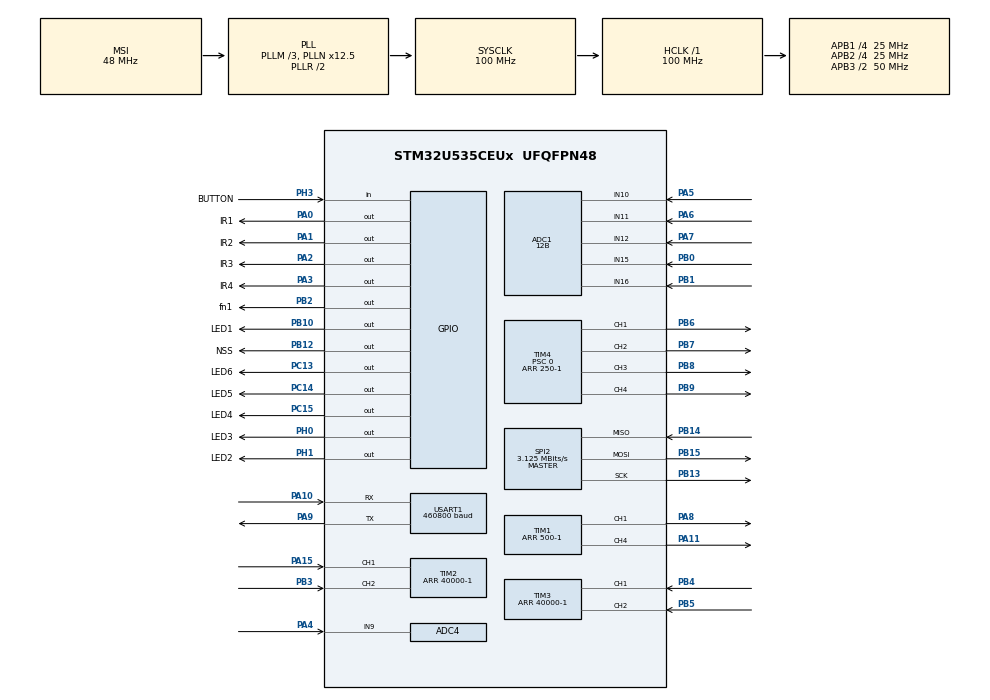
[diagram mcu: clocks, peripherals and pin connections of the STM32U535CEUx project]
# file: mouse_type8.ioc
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ADC1.Channel-0\#ChannelRegularConversion=ADC_CHANNEL_10
ADC1.Channel-10\#ChannelRegularConversion=ADC_CHANNEL_10
ADC1.Channel-11\#ChannelRegularConversion=ADC_CHANNEL_12
ADC1.Channel-12\#ChannelRegularConversion=ADC_CHANNEL_12
ADC1.Channel-13\#ChannelRegularConversion=ADC_CHANNEL_11
ADC1.Channel-14\#ChannelRegularConversion=ADC_CHANNEL_11
ADC1.Channel-15\#ChannelRegularConversion=ADC_CHANNEL_15
ADC1.Channel-16\#ChannelRegularConversion=ADC_CHANNEL_15
ADC1.Channel-17\#ChannelRegularConversion=ADC_CHANNEL_16
ADC1.Channel-18\#ChannelRegularConversion=ADC_CHANNEL_16
ADC1.ClockPrescaler=ADC_CLOCK_ASYNC_DIV4
ADC1.ConversionDataManagement=ADC_CONVERSIONDATA_DMA_CIRCULAR
ADC1.DMAContinuousRequests=ENABLE
ADC1.DiscontinuousConvMode=ENABLE
ADC1.ExternalTrigConv=ADC_EXTERNALTRIG_LPTIM1_CH1
ADC1.ExternalTrigConvEdge=ADC_EXTERNALTRIGCONVEDGE_FALLING
ADC1.MonitoredBy-10\#ChannelRegularConversion=__NULL
ADC1.MonitoredBy-11\#ChannelRegularConversion=__NULL
ADC1.MonitoredBy-12\#ChannelRegularConversion=__NULL
ADC1.MonitoredBy-13\#ChannelRegularConversion=__NULL
ADC1.MonitoredBy-14\#ChannelRegularConversion=__NULL
ADC1.MonitoredBy-15\#ChannelRegularConversion=__NULL
ADC1.MonitoredBy-16\#ChannelRegularConversion=__NULL
ADC1.MonitoredBy-17\#ChannelRegularConversion=__NULL
ADC1.MonitoredBy-18\#ChannelRegularConversion=__NULL
ADC1.NbrOfConversion=10
ADC1.NbrOfConversionFlag=1
ADC1.OffsetNumber-10\#ChannelRegularConversion=ADC_OFFSET_NONE
ADC1.OffsetNumber-11\#ChannelRegularConversion=ADC_OFFSET_NONE
ADC1.OffsetNumber-12\#ChannelRegularConversion=ADC_OFFSET_NONE
ADC1.OffsetNumber-13\#ChannelRegularConversion=ADC_OFFSET_NONE
ADC1.OffsetNumber-14\#ChannelRegularConversion=ADC_OFFSET_NONE
ADC1.OffsetNumber-15\#ChannelRegularConversion=ADC_OFFSET_NONE
ADC1.OffsetNumber-16\#ChannelRegularConversion=ADC_OFFSET_NONE
ADC1.OffsetNumber-17\#ChannelRegularConversion=ADC_OFFSET_NONE
ADC1.OffsetNumber-18\#ChannelRegularConversion=ADC_OFFSET_NONE
ADC1.Rank-10\#ChannelRegularConversion=2
ADC1.Rank-11\#ChannelRegularConversion=3
ADC1.Rank-12\#ChannelRegularConversion=4
ADC1.Rank-13\#ChannelRegularConversion=5
ADC1.Rank-14\#ChannelRegularConversion=6
ADC1.Rank-15\#ChannelRegularConversion=7
ADC1.Rank-16\#ChannelRegularConversion=8
ADC1.Rank-17\#ChannelRegularConversion=9
ADC1.Rank-18\#ChannelRegularConversion=10
ADC1.Resolution=ADC_RESOLUTION_12B
ADC1.SamplingTime-0\#ChannelRegularConversion=ADC_SAMPLETIME_20CYCLES
ADC1.SamplingTime-10\#ChannelRegularConversion=ADC_SAMPLETIME_20CYCLES
ADC1.SamplingTime-11\#ChannelRegularConversion=ADC_SAMPLETIME_20CYCLES
ADC1.SamplingTime-12\#ChannelRegularConversion=ADC_SAMPLETIME_20CYCLES
ADC1.SamplingTime-13\#ChannelRegularConversion=ADC_SAMPLETIME_20CYCLES
ADC1.SamplingTime-14\#ChannelRegularConversion=ADC_SAMPLETIME_20CYCLES
ADC1.SamplingTime-15\#ChannelRegularConversion=ADC_SAMPLETIME_20CYCLES
ADC1.SamplingTime-16\#ChannelRegularConversion=ADC_SAMPLETIME_20CYCLES
ADC1.SamplingTime-17\#ChannelRegularConversion=ADC_SAMPLETIME_20CYCLES
ADC1.SamplingTime-18\#ChannelRegularConversion=ADC_SAMPLETIME_20CYCLES
ADC1.master=1
ADC4.Channel-0\#ChannelRegularConversion=ADC_CHANNEL_9
ADC4.Channel-1\#ChannelRegularConversion=ADC_CHANNEL_9
ADC4.Channel-2\#ChannelRegularConversion=ADC_CHANNEL_9
ADC4.Channel-3\#ChannelRegularConversion=ADC_CHANNEL_9
ADC4.ClockPrescaler=ADC_CLOCK_ASYNC_DIV4
ADC4.DMAContinuousRequests=ENABLE
ADC4.DiscontinuousConvMode=ENABLE
ADC4.ExternalTrigConv=ADC4_EXTERNALTRIG_LPTIM3_CH2
ADC4.ExternalTrigConvEdge=ADC_EXTERNALTRIGCONVEDGE_RISING
ADC4.NbrOfConversion=4
ADC4.NbrOfConversionFlag=1
ADC4.OffsetNumber-0\#ChannelRegularConversion=ADC_OFFSET_NONE
ADC4.OffsetNumber-1\#ChannelRegularConversion=ADC_OFFSET_NONE
ADC4.OffsetNumber-2\#ChannelRegularConversion=ADC_OFFSET_NONE
ADC4.OffsetNumber-3\#ChannelRegularConversion=ADC_OFFSET_NONE
ADC4.Rank-0\#ChannelRegularConversion=1
ADC4.Rank-1\#ChannelRegularConversion=2
ADC4.Rank-2\#ChannelRegularConversion=3
ADC4.Rank-3\#ChannelRegularConversion=4
ADC4.RankArg-0\#ChannelRegularConversion=ADC4_REGULAR_RANK_1
ADC4.RankArg-1\#ChannelRegularConversion=ADC4_REGULAR_RANK_2
ADC4.RankArg-2\#ChannelRegularConversion=ADC4_REGULAR_RANK_3
ADC4.RankArg-3\#ChannelRegularConversion=ADC4_REGULAR_RANK_4
ADC4.SamplingTime-0\#ChannelRegularConversion=ADC4_SAMPLINGTIME_COMMON_1
ADC4.SamplingTime-1\#ChannelRegularConversion=ADC4_SAMPLINGTIME_COMMON_1
ADC4.SamplingTime-2\#ChannelRegularConversion=ADC4_SAMPLINGTIME_COMMON_1
ADC4.SamplingTime-3\#ChannelRegularConversion=ADC4_SAMPLINGTIME_COMMON_1
ADC4.SamplingTimeCommon1=ADC4_SAMPLETIME_3CYCLES_5
ADC4.SelectedChannel=ADC_CHANNEL_9
CORTEX_M33_NS.userName=CORTEX_M33
GPDMA1.CIRCULARMODE_GPDMACH0=ENABLE
GPDMA1.CIRCULARMODE_GPDMACH1=ENABLE
GPDMA1.CIRCULARMODE_GPDMACH2=DISABLE
GPDMA1.CIRCULARMODE_GPDMACH4=ENABLE
GPDMA1.CIRCULARMODE_GPDMACH7=ENABLE
GPDMA1.DATAEXCHANGE_GPDMACH0-SIMPLEREQUEST_GPDMACH0=DMA_EXCHANGE_DEST_BYTE|DMA_EXCHANGE_DEST_HALFWORD|DMA_EXCHANGE_SRC_BYTE
GPDMA1.DATAEXCHANGE_GPDMACH1-SIMPLEREQUEST_GPDMACH1=DMA_EXCHANGE_DEST_BYTE|DMA_EXCHANGE_DEST_HALFWORD|DMA_EXCHANGE_SRC_BYTE
GPDMA1.DATAEXCHANGE_GPDMACH4-SIMPLEREQUEST_GPDMACH4=DMA_EXCHANGE_DEST_BYTE|DMA_EXCHANGE_DEST_HALFWORD|DMA_EXCHANGE_SRC_BYTE
GPDMA1.DATAEXCHANGE_GPDMACH5-SIMPLEREQUEST_GPDMACH5=DMA_EXCHANGE_DEST_BYTE|DMA_EXCHANGE_DEST_HALFWORD|DMA_EXCHANGE_SRC_BYTE
GPDMA1.DATAEXCHANGE_GPDMACH6-SIMPLEREQUEST_GPDMACH6=DMA_EXCHANGE_DEST_BYTE|DMA_EXCHANGE_DEST_HALFWORD|DMA_EXCHANGE_SRC_BYTE
GPDMA1.DATAEXCHANGE_GPDMACH7-SIMPLEREQUEST_GPDMACH7=DMA_EXCHANGE_DEST_HALFWORD|DMA_EXCHANGE_SRC_BYTE
GPDMA1.DESTDATAWIDTH_GPDMACH0=DMA_DEST_DATAWIDTH_WORD
GPDMA1.DESTDATAWIDTH_GPDMACH1=DMA_DEST_DATAWIDTH_WORD
GPDMA1.DESTDATAWIDTH_GPDMACH4=DMA_DEST_DATAWIDTH_HALFWORD
GPDMA1.DESTDATAWIDTH_GPDMACH7=DMA_DEST_DATAWIDTH_HALFWORD
GPDMA1.DESTINC_GPDMACH2=DMA_DINC_INCREMENTED
GPDMA1.DESTINC_GPDMACH4=DMA_DINC_INCREMENTED
GPDMA1.DESTINC_GPDMACH6=DMA_DINC_INCREMENTED
GPDMA1.DESTINC_GPDMACH7=DMA_DINC_INCREMENTED
GPDMA1.DIRECTION_GPDMACH3=DMA_MEMORY_TO_PERIPH
GPDMA1.DIRECTION_GPDMACH5=DMA_MEMORY_TO_PERIPH
GPDMA1.IPHANDLE_GPDMACH1-SIMPLEREQUEST_GPDMACH1=IPHANDLE
GPDMA1.IPHANDLE_GPDMACH2-SIMPLEREQUEST_GPDMACH2=__NULL
GPDMA1.IPHANDLE_GPDMACH3-SIMPLEREQUEST_GPDMACH3=__NULL
GPDMA1.IPHANDLE_GPDMACH4-SIMPLEREQUEST_GPDMACH4=__NULL
GPDMA1.IPHANDLE_GPDMACH5-SIMPLEREQUEST_GPDMACH5=__NULL
GPDMA1.IPHANDLE_GPDMACH6-SIMPLEREQUEST_GPDMACH6=__NULL
GPDMA1.IPHANDLE_GPDMACH7-SIMPLEREQUEST_GPDMACH7=__NULL
GPDMA1.PRIORITY_LL_CIRCULAR_GPDMACH0=DMA_LOW_PRIORITY_HIGH_WEIGHT
GPDMA1.PRIORITY_LL_CIRCULAR_GPDMACH1=DMA_LOW_PRIORITY_HIGH_WEIGHT
GPDMA1.REQUEST_GPDMACH2=GPDMA1_REQUEST_USART1_RX
GPDMA1.REQUEST_GPDMACH3=GPDMA1_REQUEST_USART1_TX
GPDMA1.REQUEST_GPDMACH4=GPDMA1_REQUEST_ADC1
GPDMA1.REQUEST_GPDMACH5=GPDMA1_REQUEST_SPI2_TX
GPDMA1.REQUEST_GPDMACH6=GPDMA1_REQUEST_SPI2_RX
GPDMA1.REQUEST_GPDMACH7=GPDMA1_REQUEST_ADC4
GPDMA1.SRCDATAWIDTH_GPDMACH0=DMA_SRC_DATAWIDTH_WORD
GPDMA1.SRCDATAWIDTH_GPDMACH1=DMA_SRC_DATAWIDTH_WORD
GPDMA1.SRCDATAWIDTH_GPDMACH4=DMA_SRC_DATAWIDTH_HALFWORD
GPDMA1.SRCDATAWIDTH_GPDMACH7=DMA_SRC_DATAWIDTH_HALFWORD
GPDMA1.SRCINC_GPDMACH0=DMA_SINC_INCREMENTED
GPDMA1.SRCINC_GPDMACH1=DMA_SINC_INCREMENTED
GPDMA1.SRCINC_GPDMACH2=DMA_SINC_FIXED
GPDMA1.SRCINC_GPDMACH3=DMA_SINC_INCREMENTED
GPDMA1.SRCINC_GPDMACH5=DMA_SINC_INCREMENTED
GPDMA1.TRIGGERMODE_GPDMACH0=DMA_TRIGM_SINGLE_BURST_TRANSFER
GPDMA1.TRIGGERMODE_GPDMACH1=DMA_TRIGM_SINGLE_BURST_TRANSFER
GPDMA1.TRIGGERPOLARITY_GPDMACH0=DMA_TRIG_POLARITY_RISING
GPDMA1.TRIGGERPOLARITY_GPDMACH1=DMA_TRIG_POLARITY_FALLING
GPDMA1.TRIGGERPOLARITY_GPDMACH2=DMA_TRIG_POLARITY_MASKED
GPDMA1.TRIGGERPOLARITY_GPDMACH4=DMA_TRIG_POLARITY_MASKED
GPDMA1.TRIGGERSELECTION_GPDMACH0=GPDMA1_TRIGGER_LPTIM1_CH2
GPDMA1.TRIGGERSELECTION_GPDMACH1=GPDMA1_TRIGGER_LPTIM1_CH2
LPTIM1.Capture_Compare_Selection_1=UI_output
LPTIM1.Capture_Compare_Selection_2=UI_output
LPTIM1.ClockPrescaler=LPTIM_PRESCALER_DIV16
LPTIM1.OCPolarity_1=LPTIM_OCPOLARITY_LOW
LPTIM1.OCPolarity_2=LPTIM_OCPOLARITY_LOW
LPTIM1.OCPulse_1=5
LPTIM1.OCPulse_2=40
LPTIM1.Period=100
LPTIM3.ClockPrescaler=LPTIM_PRESCALER_DIV4
LPTIM3.OCPolarity_2=LPTIM_OCPOLARITY_LOW
LPTIM3.OCPulse_2=5
LPTIM3.Period=25
Mcu.Family=STM32U5
Mcu.Name=STM32U535CEUx
Mcu.Package=UFQFPN48
NVIC.ADC1_IRQn=true\:0\:0\:false\:false\:true\:true\:true\:true
NVIC.GPDMA1_Channel0_IRQn=true\:0\:0\:false\:false\:true\:true\:true\:true
NVIC.GPDMA1_Channel1_IRQn=true\:0\:0\:false\:false\:true\:true\:true\:true
NVIC.GPDMA1_Channel2_IRQn=true\:0\:0\:false\:false\:true\:false\:true\:true
NVIC.GPDMA1_Channel3_IRQn=true\:0\:0\:false\:false\:true\:false\:true\:true
NVIC.GPDMA1_Channel4_IRQn=true\:0\:0\:false\:false\:true\:false\:true\:true
NVIC.GPDMA1_Channel5_IRQn=true\:0\:0\:false\:false\:true\:false\:true\:true
NVIC.GPDMA1_Channel6_IRQn=true\:0\:0\:false\:false\:true\:false\:true\:true
NVIC.GPDMA1_Channel7_IRQn=true\:0\:0\:false\:false\:true\:false\:true\:true
NVIC.PriorityGroup=NVIC_PRIORITYGROUP_4
NVIC.SPI2_IRQn=true\:0\:0\:false\:false\:true\:true\:true\:true
NVIC.USART1_IRQn=true\:0\:0\:false\:false\:true\:true\:true\:true
PA0.GPIO_Label=IR1
PA0.Signal=GPIO_Output
PA1.GPIO_Label=IR2
PA1.Signal=GPIO_Output
PA10.Mode=Asynchronous
PA10.Signal=USART1_RX
PA11.Signal=S_TIM1_CH4
PA13\ (JTMS/SWDIO).Mode=Serial_Wire
PA13\ (JTMS/SWDIO).Signal=DEBUG_JTMS-SWDIO
PA14\ (JTCK/SWCLK).Mode=Serial_Wire
PA14\ (JTCK/SWCLK).Signal=DEBUG_JTCK-SWCLK
PA15\ (JTDI).Signal=S_TIM2_CH1
PA2.GPIO_Label=IR3
PA2.Signal=GPIO_Output
PA3.GPIO_Label=IR4
PA3.Signal=GPIO_Output
PA4.Mode=IN9
PA4.Signal=ADC4_IN9
PA5.Mode=IN10-Single-Ended
PA5.Signal=ADC1_IN10
PA6.Mode=IN11-Single-Ended
PA6.Signal=ADC1_IN11
PA7.Mode=IN12-Single-Ended
PA7.Signal=ADC1_IN12
PA8.Signal=S_TIM1_CH1
PA9.Mode=Asynchronous
PA9.Signal=USART1_TX
PB0.Mode=IN15-Single-Ended
PB0.Signal=ADC1_IN15
PB1.Mode=IN16-Single-Ended
PB1.Signal=ADC1_IN16
PB10.GPIO_Label=LED1
PB10.Signal=GPIO_Output
PB12.GPIO_Label=NSS
PB12.Signal=GPIO_Output
PB13.Mode=Full_Duplex_Master
PB13.Signal=SPI2_SCK
PB14.Mode=Full_Duplex_Master
PB14.Signal=SPI2_MISO
PB15.Mode=Full_Duplex_Master
PB15.Signal=SPI2_MOSI
PB2.GPIO_Label=fn1
PB2.Signal=GPIO_Output
PB3\ (JTDO/TRACESWO).Signal=S_TIM2_CH2
PB4\ (NJTRST).Signal=S_TIM3_CH1
PB5.Signal=S_TIM3_CH2
PB6.GPIO_FM6=SYSCFG_FASTMODEPLUS_PB6
PB6.GPIO_PuPd=GPIO_NOPULL
PB6.GPIO_Speed=GPIO_SPEED_FREQ_HIGH
PB6.Signal=S_TIM4_CH1
PB7.GPIO_FM7=SYSCFG_FASTMODEPLUS_PB7
PB7.GPIO_PuPd=GPIO_NOPULL
PB7.GPIO_Speed=GPIO_SPEED_FREQ_HIGH
PB7.Signal=S_TIM4_CH2
PB8.GPIO_FM8=SYSCFG_FASTMODEPLUS_PB8
PB8.GPIO_PuPd=GPIO_NOPULL
PB8.GPIO_Speed=GPIO_SPEED_FREQ_HIGH
PB8.Signal=S_TIM4_CH3
PB9.GPIO_FM9=SYSCFG_FASTMODEPLUS_PB9
PB9.GPIO_PuPd=GPIO_NOPULL
PB9.GPIO_Speed=GPIO_SPEED_FREQ_HIGH
PB9.Signal=S_TIM4_CH4
PC13.GPIO_Label=LED6
PC13.Signal=GPIO_Output
PC14-OSC32_IN\ (PC14).GPIO_Label=LED5
PC14-OSC32_IN\ (PC14).Signal=GPIO_Output
PC15-OSC32_OUT\ (PC15).GPIO_Label=LED4
PC15-OSC32_OUT\ (PC15).Signal=GPIO_Output
PH0-OSC_IN\ (PH0).GPIO_Label=LED3
PH0-OSC_IN\ (PH0).Signal=GPIO_Output
PH1-OSC_OUT\ (PH1).GPIO_Label=LED2
PH1-OSC_OUT\ (PH1).Signal=GPIO_Output
PH3-BOOT0.GPIO_Label=BUTTON
PH3-BOOT0.Signal=GPIO_Input
ProjectManager.HeapSize=0x200
ProjectManager.StackSize=0x400
ProjectManager.TargetToolchain=STM32CubeIDE
RCC.ADCCLockSelection=RCC_ADCDACCLKSOURCE_HCLK
RCC.ADCFreq_Value=100000000
RCC.AHBCLKDivider=RCC_SYSCLK_DIV1
RCC.AHBFreq_Value=100000000
RCC.APB1CLKDivider=RCC_HCLK_DIV4
RCC.APB1Freq_Value=25000000
RCC.APB1TimFreq_Value=50000000
RCC.APB2CLKDivider=RCC_HCLK_DIV4
RCC.APB2Freq_Value=25000000
RCC.APB2TimFreq_Value=50000000
RCC.APB3CLKDivider=RCC_HCLK_DIV2
RCC.APB3Freq_Value=50000000
RCC.CortexFreq_Value=100000000
RCC.DACCLockSelectionVirtual=RCC_DAC1CLKSOURCE_LSI
RCC.DACCLockSelectionVirtualString=RCC_DAC1CLKSOURCE_LSI
RCC.EPOD_VALUE=48000000
RCC.HCLKFreq_Value=100000000
RCC.HSE_VALUE=16000000
RCC.HSI48_VALUE=48000000
RCC.HSI_VALUE=16000000
RCC.LPTIM1CLockSelectionVirtual=RCC_LPTIM1CLKSOURCE_HSI
RCC.LPTIM2CLockSelectionVirtual=RCC_LPTIM2CLKSOURCE_HSI
RCC.LSE_VALUE=32768
RCC.LSIDIV_VALUE=32000
RCC.MSIClockRange=RCC_MSIRANGE_0
RCC.MSI_VALUE=48000000
RCC.PLL2FRACN=0
RCC.PLL3FRACN=0
RCC.PLLFRACN=4096
RCC.PLLM=3
RCC.PLLN=12
RCC.SYSCLKFreq_VALUE=100000000
RCC.SYSCLKSource=RCC_SYSCLKSOURCE_PLLCLK
RCC.USART1CLockSelectionVirtual=RCC_USART1CLKSOURCE_SYSCLK
RCC.USBFreq_Value=48000000
RCC.VCOOutputFreq_Value=200000000
SH.S_TIM1_CH1.0=TIM1_CH1,PWM Generation1 CH1
SH.S_TIM1_CH4.0=TIM1_CH4,PWM Generation4 CH4
SH.S_TIM2_CH1.0=TIM2_CH1,Encoder_Interface
SH.S_TIM2_CH2.0=TIM2_CH2,Encoder_Interface
SH.S_TIM3_CH1.0=TIM3_CH1,Encoder_Interface
SH.S_TIM3_CH2.0=TIM3_CH2,Encoder_Interface
SH.S_TIM4_CH1.0=TIM4_CH1,PWM Generation1 CH1
SH.S_TIM4_CH2.0=TIM4_CH2,PWM Generation2 CH2
SH.S_TIM4_CH3.0=TIM4_CH3,PWM Generation3 CH3
SH.S_TIM4_CH4.0=TIM4_CH4,PWM Generation4 CH4
SPI2.BaudRatePrescaler=SPI_BAUDRATEPRESCALER_32
SPI2.CLKPhase=SPI_PHASE_2EDGE
SPI2.CLKPolarity=SPI_POLARITY_HIGH
SPI2.CalculateBaudRate=3.125 MBits/s
SPI2.DataSize=SPI_DATASIZE_8BIT
SPI2.Direction=SPI_DIRECTION_2LINES
SPI2.FirstBit=SPI_FIRSTBIT_MSB
SPI2.Mode=SPI_MODE_MASTER
SPI2.VirtualType=VM_MASTER
TIM1.Channel-PWM\ Generation1\ CH1=TIM_CHANNEL_1
TIM1.Channel-PWM\ Generation4\ CH4=TIM_CHANNEL_4
TIM1.OCMode_PWM-PWM\ Generation1\ CH1=TIM_OCMODE_PWM2
TIM1.OCMode_PWM-PWM\ Generation4\ CH4=TIM_OCMODE_PWM2
TIM1.PeriodNoDither=500-1
TIM2.EncoderMode=TIM_ENCODERMODE_TI12
TIM2.PeriodNoDither=40000-1
TIM3.CounterMode=TIM_COUNTERMODE_UP
TIM3.EncoderMode=TIM_ENCODERMODE_TI12
TIM3.IC2Polarity=TIM_ICPOLARITY_RISING
TIM3.PeriodNoDither=40000-1
TIM4.Channel-PWM\ Generation1\ CH1=TIM_CHANNEL_1
TIM4.Channel-PWM\ Generation2\ CH2=TIM_CHANNEL_2
TIM4.Channel-PWM\ Generation3\ CH3=TIM_CHANNEL_3
TIM4.Channel-PWM\ Generation4\ CH4=TIM_CHANNEL_4
TIM4.OCMode_PWM-PWM\ Generation1\ CH1=TIM_OCMODE_PWM2
TIM4.OCMode_PWM-PWM\ Generation2\ CH2=TIM_OCMODE_PWM2
TIM4.OCMode_PWM-PWM\ Generation3\ CH3=TIM_OCMODE_PWM2
TIM4.OCMode_PWM-PWM\ Generation4\ CH4=TIM_OCMODE_PWM2
TIM4.OCPolarity_1=TIM_OCPOLARITY_HIGH
TIM4.OCPolarity_2=TIM_OCPOLARITY_HIGH
TIM4.OCPolarity_3=TIM_OCPOLARITY_HIGH
TIM4.OCPolarity_4=TIM_OCPOLARITY_HIGH
TIM4.PeriodNoDither=250-1
TIM4.Prescaler=0
TIM8.PeriodNoDither=500-1
USART1.BaudRate=460800
USART1.ClockPrescaler=PRESCALER_DIV2
USART1.VirtualMode-Asynchronous=VM_ASYNC
VP_GPDMA1_VS_GPDMACH0.Mode=SIMPLEREQUEST_GPDMACH0
VP_GPDMA1_VS_GPDMACH1.Mode=SIMPLEREQUEST_GPDMACH1
VP_GPDMA1_VS_GPDMACH2.Mode=SIMPLEREQUEST_GPDMACH2
VP_GPDMA1_VS_GPDMACH3.Mode=SIMPLEREQUEST_GPDMACH3
VP_GPDMA1_VS_GPDMACH4.Mode=SIMPLEREQUEST_GPDMACH4
VP_GPDMA1_VS_GPDMACH5.Mode=SIMPLEREQUEST_GPDMACH5
VP_GPDMA1_VS_GPDMACH6.Mode=SIMPLEREQUEST_GPDMACH6
VP_GPDMA1_VS_GPDMACH7.Mode=SIMPLEREQUEST_GPDMACH7
VP_ICACHE_VS_ICACHE.Mode=DirectMappedCache
VP_LPBAMQUEUE_VS_QUEUE.Mode=QUEUEMODE
VP_LPBAM_VS_SIG1.Mode=SmartRun
VP_LPBAM_VS_SIG4.Mode=LPDMA1
VP_LPTIM1_VS_LPTIM_counterModeInternalClock.Mode=Counts__internal_clock_event_00
VP_LPTIM3_VS_LPTIM_counterModeInternalClock.Mode=Counts__internal_clock_event_00
VP_MEMORYMAP_VS_MEMORYMAP.Mode=CurAppReg
VP_PWR_VS_SECSignals.Mode=Security/Privilege
VP_TIM1_VS_ClockSourceINT.Mode=Internal
VP_TIM4_VS_ClockSourceINT.Mode=Internal
VP_TIM8_VS_ClockSourceINT.Mode=Internal
board=custom

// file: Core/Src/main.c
/* USER CODE BEGIN Header */
/**
  ******************************************************************************
  * @file           : main.c
  * @brief          : Main program body
  ******************************************************************************
  * @attention
  *
  * Copyright (c) 2026 STMicroelectronics.
  * All rights reserved.
  *
  * This software is licensed under terms that can be found in the LICENSE file
  * in the root directory of this software component.
  * If no LICENSE file comes with this software, it is provided AS-IS.
  *
  ******************************************************************************
  */
/* USER CODE END Header */
#include "Core/Inc/main.h"
#include "Core/Inc/adc.h"
#include "Core/Inc/gpdma.h"
#include "Core/Inc/icache.h"
#include "Core/Inc/lptim.h"
#include "Core/Inc/spi.h"
#include "Core/Inc/tim.h"
#include "Core/Inc/usart.h"
#include "Core/Inc/gpio.h"

/* USER CODE BEGIN Includes */
#include "core/ntshell.h"
#include "core/ntlibc.h"
#include "Peripheral/Inc/interface.h"
#include "Peripheral/Inc/ir_sensor.h"
#include "Peripheral/Inc/communicate.h"
#include "Peripheral/Inc/imu.h"
#include "Peripheral/Inc/lsm6dsr_reg.h"
#include "Peripheral/Inc/encoder.h"
#include "Peripheral/Inc/motor.h"
#include <stdio.h>
#include "Peripheral/Inc/flash_util.h"
#include "System/Inc/system_util.h"
/* USER CODE END Includes */

void SystemClock_Config(void);

int main(void)
{

  /* MCU Configuration--------------------------------------------------------*/

  /* Reset of all peripherals, Initializes the Flash interface and the Systick. */
  HAL_Init();

  /* Configure the system clock */
  SystemClock_Config();

  /* Initialize all configured peripherals */
  MX_GPIO_Init();
  MX_GPDMA1_Init();
  MX_ADC1_Init();
  MX_ADC4_Init();
  MX_ICACHE_Init();
  MX_LPTIM1_Init();
  MX_LPTIM3_Init();
  MX_SPI2_Init();
  MX_TIM1_Init();
  MX_TIM2_Init();
  MX_TIM3_Init();
  MX_TIM4_Init();
  MX_TIM8_Init();
  MX_USART1_UART_Init();
  /* USER CODE BEGIN 2 */

  HAL_Delay(100);
  CPP_Main();
  /* USER CODE END 2 */

  /* Infinite loop */
  /* USER CODE BEGIN WHILE */
  IMU_initialize();
  while (1)
  {
    /* USER CODE END WHILE */

    /* USER CODE BEGIN 3 */
	  Indicate_LED(0xff);
	  //IMU_read_DMA_Start();
	  HAL_Delay(200);
	  Indicate_LED(0x0);
	  HAL_Delay(200);
	  printf("hello\n");
	  printf("who->%d\n",read_byte(WHO_AM_I));
	  printf("%d,%d,%d,%d,",ADC_get_value(0),ADC_get_value(1),ADC_get_value(2),ADC_get_value(3));
	  printf("%d,%d,%d,%d,",ADC_get_value(4),ADC_get_value(5),ADC_get_value(6),ADC_get_value(7));
	  printf("%d,%d\n",ADC_get_value(8),ADC_get_value(9));
	  printf("encoder->%ld,%ld",ENC_CNT_L,ENC_CNT_R);
	  printf("gyro->%d\n",(((int16_t)read_byte(OUTZ_H_G)<<8 ) | ( (int16_t)read_byte(OUTZ_L_G)&0x00ff ) ));
	  printf("%d,%d\n",work_ram_read(2048),work_ram_read(6000));
  }
  /* USER CODE END 3 */
}

void SystemClock_Config(void)
{
  RCC_OscInitTypeDef RCC_OscInitStruct = {0};
  RCC_ClkInitTypeDef RCC_ClkInitStruct = {0};

  /** Configure the main internal regulator output voltage
  */
  if (HAL_PWREx_ControlVoltageScaling(PWR_REGULATOR_VOLTAGE_SCALE2) != HAL_OK)
  {
    Error_Handler();
  }

  /** Initializes the CPU, AHB and APB buses clocks
  */
  RCC_OscInitStruct.OscillatorType = RCC_OSCILLATORTYPE_HSI|RCC_OSCILLATORTYPE_MSI
                              |RCC_OSCILLATORTYPE_MSIK;
  RCC_OscInitStruct.HSIState = RCC_HSI_ON;
  RCC_OscInitStruct.HSICalibrationValue = RCC_HSICALIBRATION_DEFAULT;
  RCC_OscInitStruct.MSIState = RCC_MSI_ON;
  RCC_OscInitStruct.MSICalibrationValue = RCC_MSICALIBRATION_DEFAULT;
  RCC_OscInitStruct.MSIClockRange = RCC_MSIRANGE_0;
  RCC_OscInitStruct.MSIKClockRange = RCC_MSIKRANGE_4;
  RCC_OscInitStruct.MSIKState = RCC_MSIK_ON;
  RCC_OscInitStruct.PLL.PLLState = RCC_PLL_ON;
  RCC_OscInitStruct.PLL.PLLSource = RCC_PLLSOURCE_MSI;
  RCC_OscInitStruct.PLL.PLLMBOOST = RCC_PLLMBOOST_DIV4;
  RCC_OscInitStruct.PLL.PLLM = 3;
  RCC_OscInitStruct.PLL.PLLN = 12;
  RCC_OscInitStruct.PLL.PLLP = 2;
  RCC_OscInitStruct.PLL.PLLQ = 2;
  RCC_OscInitStruct.PLL.PLLR = 2;
  RCC_OscInitStruct.PLL.PLLRGE = RCC_PLLVCIRANGE_1;
  RCC_OscInitStruct.PLL.PLLFRACN = 4096;
  if (HAL_RCC_OscConfig(&RCC_OscInitStruct) != HAL_OK)
  {
    Error_Handler();
  }

  /** Initializes the CPU, AHB and APB buses clocks
  */
  RCC_ClkInitStruct.ClockType = RCC_CLOCKTYPE_HCLK|RCC_CLOCKTYPE_SYSCLK
                              |RCC_CLOCKTYPE_PCLK1|RCC_CLOCKTYPE_PCLK2
                              |RCC_CLOCKTYPE_PCLK3;
  RCC_ClkInitStruct.SYSCLKSource = RCC_SYSCLKSOURCE_PLLCLK;
  RCC_ClkInitStruct.AHBCLKDivider = RCC_SYSCLK_DIV1;
  RCC_ClkInitStruct.APB1CLKDivider = RCC_HCLK_DIV4;
  RCC_ClkInitStruct.APB2CLKDivider = RCC_HCLK_DIV4;
  RCC_ClkInitStruct.APB3CLKDivider = RCC_HCLK_DIV2;

  if (HAL_RCC_ClockConfig(&RCC_ClkInitStruct, FLASH_LATENCY_3) != HAL_OK)
  {
    Error_Handler();
  }

  /** Enable the force of MSIK in stop mode
  */
  __HAL_RCC_MSIKSTOP_ENABLE();

  /** Enable the force of HSI in stop mode
  */
  __HAL_RCC_HSISTOP_ENABLE();
}

void Error_Handler(void)
{
  __disable_irq();
  while (1)
  {
  }
}
